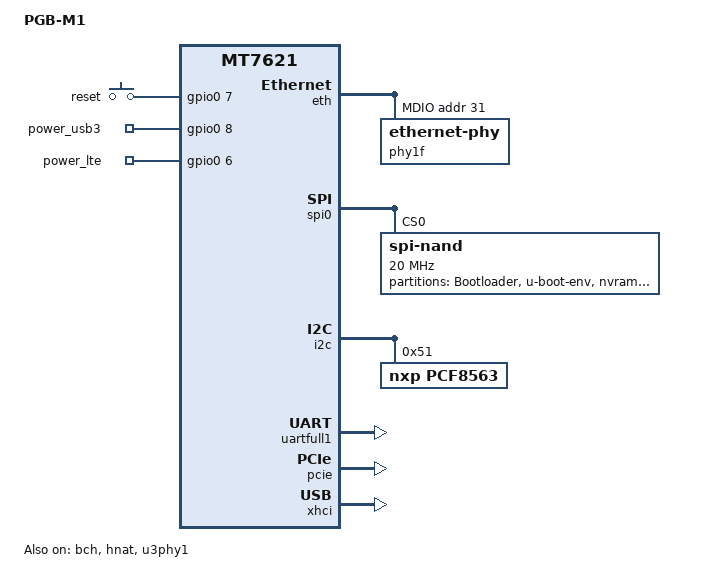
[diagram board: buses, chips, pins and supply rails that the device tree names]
/dts-v1/;

#include "mt7621.dtsi"
#include <dt-bindings/input/input.h>

/ {
	compatible = "mediatek,mt7621-pgb-m1", "mediatek,mt7621-soc";
	model = "PGB-M1";

	chosen {
		bootargs = "console=ttyS0,115200";
	};

	gpio-keys-polled {
		compatible = "gpio-keys-polled";
		#address-cells = <1>;
		#size-cells = <0>;
		poll-interval = <20>;

		reset {
			label = "reset";
			gpios = <&gpio0 7 0>;
			linux,code = <KEY_RESTART>;
		};
	};
	gpio_export {
		compatible = "gpio-export";
		#size-cells = <0>;

		power_usb3 {
			gpio-export,name = "power_usb3";
			gpio-export,output = <1>;
			gpios = <&gpio0 8 GPIO_ACTIVE_HIGH>;
		};

		power_lte {
			gpio-export,name = "power_lte";
			gpio-export,output = <1>;
			gpios = <&gpio0 6 GPIO_ACTIVE_HIGH>;
		};
/*
		power_nvme {
			gpio-export,name = "power_nvme";
			gpio-export,output = <1>;
			gpios = <&gpio0 0 GPIO_ACTIVE_HIGH>;
		};
*/
	};
};

&bch {
	status = "okay";
};

&eth {
        status = "okay";

        gmac0: mac@0 {
                compatible = "mediatek,eth-mac";
                reg = <0>;
                phy-mode = "trgmii";
                fixed-link {
                        speed = <1000>;
                        full-duplex;
                        pause;
                };
        };

        gmac1: mac@1 {
                compatible = "mediatek,eth-mac";
                reg = <1>;
                phy-mode = "rgmii";
                fixed-link {
                        speed = <1000>;
                        full-duplex;
                        pause;
                };
        };

        mdio: mdio-bus {
                #address-cells = <1>;
                #size-cells = <0>;

                phy1f: ethernet-phy@1f {
                        reg = <0x1f>;
                        phy-mode = "rgmii";
                };
        };
};

&gsw {
        mediatek,mdio = <&mdio>;
        mediatek,portmap = "llllw";
        mediatek,mcm;
	mt7530,direct-phy-access;

        resets = <&rstctrl 2>;
        reset-names = "mcm";

        port5: port@5 {
                compatible = "mediatek,mt753x-port";
                reg = <5>;
                phy-mode = "rgmii";
                fixed-link {
                        speed = <1000>;
                        full-duplex;
                };
        };

        port6: port@6 {
                compatible = "mediatek,mt753x-port";
                reg = <6>;
                phy-mode = "trgmii";
                fixed-link {
                        speed = <1000>;
                        full-duplex;
                };
        };

        mdio-bus {
                #address-cells = <1>;
                #size-cells = <0>;
        };
};

&hnat {
        mtketh-wan = "eth1";
        mtketh-ppd = "vlan1";
        ext-devices = "rai0", "ra0", "rai1", "ra1", "rai2", "ra2", "rai3", "ra3", "apclii0", "apcli0";
        mtketh-max-gmac = <2>;
        status = "okay";
};

&spi0 {
	status = "okay";
	num-cs = <2>;
	spi-nand@0 {
		#address-cells = <1>;
		#size-cells = <1>;
		compatible = "spi-nand";
		spi-max-frequency = <20000000>;
		reg = <0>;
		partitions {
			compatible = "fixed-partitions";
			#address-cells = <1>;
			#size-cells = <1>;

			partition@0 {
				label = "Bootloader";
				reg = <0x00000 0xc0000>;
			};

			partition@c0000 {
				label = "u-boot-env";
				reg = <0xc0000 0x40000>;
			};

			partition@100000 {
				label = "nvram";
				reg = <0x100000 0x100000>;
			};

			factory: partition@200000 {
				label = "Factory";
				reg = <0x200000 0x100000>;
			};

			factory2: partition@300000  {
				label = "Factory2";
				reg = <0x300000 0x100000>;
			};
			partition@400000 {
				label = "firmware";
				reg = <0x400000 0x3c00000>;
			};

			partition@4000000 {
				label = "jffs2";
				reg = <0x4000000 0x3f00000>;
			};

		};
	};
};

&i2c {
        status = "okay";

        pcf8563: rtc@51 {
            status = "okay";
            compatible = "nxp,pcf8563";
            reg = <0x51>;
        };
};

&pinctrl {
	state_default: pinctrl0 {

		uart2 {
			mtk,group = "uart2";
			mtk,function = "gpio";
		};

		uart3 {
			mtk,group = "uart3";
			mtk,function = "gpio";
		};

		jtag {
			mtk,group = "jtag";
			mtk,function = "gpio";
		};

		wdt {
			mtk,group = "wdt";
			mtk,function = "gpio";
		};
	};
};

&uartfull1 {
	status = "okay";
};

&pcie {
	status = "okay";
};

&u3phy1 {
	status = "okay";
};

&xhci {
	status = "okay";
};
